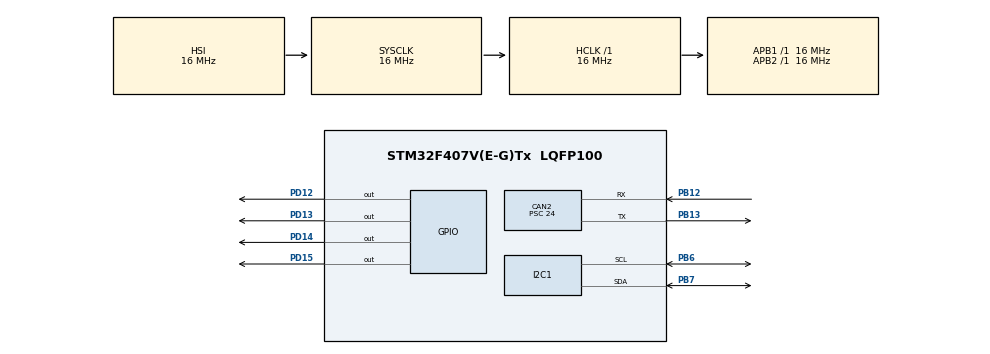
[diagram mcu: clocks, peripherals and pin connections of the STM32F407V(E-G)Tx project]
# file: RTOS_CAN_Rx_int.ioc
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CAN2.BS1=CAN_BS1_13TQ
CAN2.BS2=CAN_BS2_2TQ
CAN2.CalculateBaudRate=41666
CAN2.CalculateTimeBit=24000
CAN2.CalculateTimeQuantum=1500.0
CAN2.Prescaler=24
Mcu.Family=STM32F4
Mcu.Name=STM32F407V(E-G)Tx
Mcu.Package=LQFP100
NVIC.CAN2_RX0_IRQn=true\:6\:0\:true\:false\:true\:true\:true\:true
NVIC.PriorityGroup=NVIC_PRIORITYGROUP_4
NVIC.TIM1_UP_TIM10_IRQn=true\:15\:0\:false\:false\:true\:false\:true\:true
NVIC.TimeBase=TIM1_UP_TIM10_IRQn
NVIC.TimeBaseIP=TIM1
PB12.Mode=CAN_Activate
PB12.Signal=CAN2_RX
PB13.Mode=CAN_Activate
PB13.Signal=CAN2_TX
PB6.Mode=I2C
PB6.Signal=I2C1_SCL
PB7.Mode=I2C
PB7.Signal=I2C1_SDA
PD12.Signal=GPIO_Output
PD13.Signal=GPIO_Output
PD14.Signal=GPIO_Output
PD15.Signal=GPIO_Output
ProjectManager.HeapSize=0x200
ProjectManager.StackSize=0x400
ProjectManager.TargetToolchain=STM32CubeIDE
RCC.AHBFreq_Value=16000000
RCC.APB1Freq_Value=16000000
RCC.APB2Freq_Value=16000000
RCC.CortexFreq_Value=16000000
RCC.HSE_VALUE=25000000
RCC.HSI_VALUE=16000000
RCC.LSE_VALUE=32768
RCC.SYSCLKFreq_VALUE=16000000
RCC.VCOOutputFreq_Value=192000000
VP_SYS_VS_tim1.Mode=TIM1
board=custom

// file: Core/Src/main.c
/* USER CODE BEGIN Header */
/**
-----------------------------------------------------------------------------

Authors: Prasad kulkarni , Onkar chougale , Lalit Deshpande ,Karan Solanki

CODE: receiving distance with CAN (front, rear) and displaying on LCD and controlling Buzzer
Date: 05-08-2024
--------------------------------------------------------------------------
  ******************************************************************************
  * @file           : main.c
  * @brief          : Main program body
  ******************************************************************************
  * @attention
  *
  * Copyright (c) 2024 STMicroelectronics.
  * All rights reserved.
  *
  * This software is licensed under terms that can be found in the LICENSE file
  * in the root directory of this software component.
  * If no LICENSE file comes with this software, it is provided AS-IS.
  *
  ******************************************************************************
  */
/* USER CODE END Header */
#include "main.h"

/* USER CODE BEGIN Includes */
#include <stdio.h>
#include <string.h>
#include <math.h>
#include <stdlib.h>
#include <lcd_i2c.h>				/* LCD required functionality */

#include "FreeRTOS.h"				/* RTOS Related configurations */
#include "task.h"
#include "timers.h"
#include "queue.h"
#include "semphr.h"
#include "event_groups.h"
#include "SEGGER_SYSVIEW.h"
/* USER CODE END Includes */

CAN_HandleTypeDef hcan2;

I2C_HandleTypeDef hi2c1;

/* USER CODE BEGIN PV */

//uint8_t Queue_rx[8];
uint8_t RxData[8];
uint32_t min_distance;				/* this variable will store minimum distance of two UltraSonic sensor */
float distance_rear;				/* received rear distance via CAN */
float distance_front; 				/* received rear distance via CAN */
uint32_t period;
extern I2C_HandleTypeDef hi2c1;

/* USER CODE END PV */

void SystemClock_Config(void);
static void MX_GPIO_Init(void);
static void MX_CAN2_Init(void);
static void MX_I2C1_Init(void);
/* USER CODE BEGIN PFP */

/* Private function prototypes -----------------------------------------------*/

#define STACK_SIZE 128

void Deferred_Task( void* argument );
void WasteFullLED( void* argument );
void SystemClock_Config(void);
static void MX_GPIO_Init(void);
static void MX_CAN2_Init(void);
void CAN_Filter_Config(void);
void Error_Handler(void);

/* USER CODE END PFP */

/* USER CODE BEGIN 0 */

//static QueueHandle_t Data_transmitt = NULL;

TaskHandle_t xDeferrefTaskHandle = NULL;

/* USER CODE END 0 */

int main(void)
{

  /* MCU Configuration--------------------------------------------------------*/

  HAL_Init();

  /* Configure the system clock */
  SystemClock_Config();

  /* Initialize all configured peripherals */
  MX_GPIO_Init();
  MX_CAN2_Init();
  MX_I2C1_Init();
  /* USER CODE BEGIN 2 */
  /* segger system configuration for segger system view  */
  SEGGER_SYSVIEW_Conf();

  /* making priority of task to 4
   * With FreeRTOS, it's important that critical system interrupts
   *(like the SysTick handler or PendSV handler) are not blocked by other less
   * critical interrupts. By using NVIC_PRIORITYGROUP_4, you can assign the lowest preemption
   * priority to FreeRTOS interrupts, ensuring they are not blocked.*/
  HAL_NVIC_SetPriorityGrouping(NVIC_PRIORITYGROUP_4);

  /* filtering the CAN configurations before starting the can */
  CAN_Filter_Config();

  /**
    * @brief  Start the CAN module.
    * @param  hcan pointer to an CAN_HandleTypeDef structure that contains
    *         the configuration information for the specified CAN.
    * @retval HAL status
    */
  if(HAL_CAN_Start(&hcan2) != HAL_OK)
  {
	  Error_Handler();
  }
  /**
    * @brief  Enable interrupts.
    * @param  hcan pointer to an CAN_HandleTypeDef structure that contains
    *         the configuration information for the specified CAN.
    * @param  ActiveITs indicates which interrupts will be enabled.
    *         This parameter can be any combination of @arg CAN_Interrupts.
    * @retval HAL status
    */
  if(HAL_CAN_ActivateNotification(&hcan2, CAN_IT_RX_FIFO0_MSG_PENDING)!=HAL_OK)
  {
	  Error_Handler();
  }

  //creating tasks
  assert_param(xTaskCreate(Deferred_Task, "Task for Deferred work", STACK_SIZE, NULL, tskIDLE_PRIORITY + 3, &xDeferrefTaskHandle) == pdPASS);
  assert_param(xTaskCreate(WasteFullLED, "LED_Blink on low priority", STACK_SIZE, NULL, tskIDLE_PRIORITY + 1, NULL) == pdPASS);

  //Data_transmitt= xQueueCreate(4,sizeof(float));

  //Starting Scheduler
  vTaskStartScheduler();

  /* USER CODE END 2 */

  /* Infinite loop */
  /* USER CODE BEGIN WHILE */

  while (1)
  {
	  /* program execution should not come here */
  }
    /* USER CODE END WHILE */

}

void SystemClock_Config(void)
{
  RCC_OscInitTypeDef RCC_OscInitStruct = {0};
  RCC_ClkInitTypeDef RCC_ClkInitStruct = {0};

  /** Configure the main internal regulator output voltage
  */
  __HAL_RCC_PWR_CLK_ENABLE();
  __HAL_PWR_VOLTAGESCALING_CONFIG(PWR_REGULATOR_VOLTAGE_SCALE1);

  /** Initializes the RCC Oscillators according to the specified parameters
  * in the RCC_OscInitTypeDef structure.
  */
  RCC_OscInitStruct.OscillatorType = RCC_OSCILLATORTYPE_HSI;
  RCC_OscInitStruct.HSIState = RCC_HSI_ON;
  RCC_OscInitStruct.HSICalibrationValue = RCC_HSICALIBRATION_DEFAULT;
  RCC_OscInitStruct.PLL.PLLState = RCC_PLL_NONE;
  if (HAL_RCC_OscConfig(&RCC_OscInitStruct) != HAL_OK)
  {
    Error_Handler();
  }

  /** Initializes the CPU, AHB and APB buses clocks
  */
  RCC_ClkInitStruct.ClockType = RCC_CLOCKTYPE_HCLK|RCC_CLOCKTYPE_SYSCLK
                              |RCC_CLOCKTYPE_PCLK1|RCC_CLOCKTYPE_PCLK2;
  RCC_ClkInitStruct.SYSCLKSource = RCC_SYSCLKSOURCE_HSI;
  RCC_ClkInitStruct.AHBCLKDivider = RCC_SYSCLK_DIV1;
  RCC_ClkInitStruct.APB1CLKDivider = RCC_HCLK_DIV1;
  RCC_ClkInitStruct.APB2CLKDivider = RCC_HCLK_DIV1;

  if (HAL_RCC_ClockConfig(&RCC_ClkInitStruct, FLASH_LATENCY_0) != HAL_OK)
  {
    Error_Handler();
  }
}

static void MX_CAN2_Init(void)
{

  hcan2.Instance = CAN2;
  hcan2.Init.Prescaler = 24;
  hcan2.Init.Mode = CAN_MODE_NORMAL;
  hcan2.Init.SyncJumpWidth = CAN_SJW_1TQ;
  hcan2.Init.TimeSeg1 = CAN_BS1_13TQ;
  hcan2.Init.TimeSeg2 = CAN_BS2_2TQ;
  hcan2.Init.TimeTriggeredMode = DISABLE;
  hcan2.Init.AutoBusOff = DISABLE;
  hcan2.Init.AutoWakeUp = DISABLE;
  hcan2.Init.AutoRetransmission = DISABLE;
  hcan2.Init.ReceiveFifoLocked = DISABLE;
  hcan2.Init.TransmitFifoPriority = DISABLE;
  if (HAL_CAN_Init(&hcan2) != HAL_OK)
  {
    Error_Handler();
  }

}

static void MX_I2C1_Init(void)
{

  hi2c1.Instance = I2C1;
  hi2c1.Init.ClockSpeed = 100000;
  hi2c1.Init.DutyCycle = I2C_DUTYCYCLE_2;
  hi2c1.Init.OwnAddress1 = 0;
  hi2c1.Init.AddressingMode = I2C_ADDRESSINGMODE_7BIT;
  hi2c1.Init.DualAddressMode = I2C_DUALADDRESS_DISABLE;
  hi2c1.Init.OwnAddress2 = 0;
  hi2c1.Init.GeneralCallMode = I2C_GENERALCALL_DISABLE;
  hi2c1.Init.NoStretchMode = I2C_NOSTRETCH_DISABLE;
  if (HAL_I2C_Init(&hi2c1) != HAL_OK)
  {
    Error_Handler();
  }

}

static void MX_GPIO_Init(void)
{
  GPIO_InitTypeDef GPIO_InitStruct = {0};
  /*USER CODE BEGIN MX_GPIO_Init_1 */

  /*USER CODE END MX_GPIO_Init_1 */

  /* GPIO Ports Clock Enable */
  __HAL_RCC_GPIOB_CLK_ENABLE();
  __HAL_RCC_GPIOD_CLK_ENABLE();

  /*Configure GPIO pin Output Level */
  HAL_GPIO_WritePin(GPIOD, GPIO_PIN_12|GPIO_PIN_13|GPIO_PIN_14|GPIO_PIN_15, GPIO_PIN_RESET);

  /*Configure GPIO pins : PD12 PD13 PD14 PD15 */
  GPIO_InitStruct.Pin = GPIO_PIN_12|GPIO_PIN_13|GPIO_PIN_14|GPIO_PIN_15;
  GPIO_InitStruct.Mode = GPIO_MODE_OUTPUT_PP;
  GPIO_InitStruct.Pull = GPIO_NOPULL;
  GPIO_InitStruct.Speed = GPIO_SPEED_FREQ_LOW;
  HAL_GPIO_Init(GPIOD, &GPIO_InitStruct);

}

/* USER CODE BEGIN 4 */
void LCD_Init(void)
{
	lcd_init();
}

/**
  * @brief This function configures the CAN filter
  * @retval None
  */

void CAN_Filter_Config(void)
{
  CAN_FilterTypeDef can2_filter_init;
  can2_filter_init.FilterActivation = ENABLE;
  can2_filter_init.FilterBank = 14;
  can2_filter_init.FilterFIFOAssignment = CAN_RX_FIFO0;
  can2_filter_init.FilterIdHigh = 0x0000;
  can2_filter_init.FilterIdLow = 0x0000;
  can2_filter_init.FilterMaskIdHigh = 0x0000;
  can2_filter_init.FilterMaskIdLow = 0x0000;
  can2_filter_init.FilterMode = CAN_FILTERMODE_IDMASK;
  can2_filter_init.FilterScale = CAN_FILTERSCALE_32BIT;
  can2_filter_init.SlaveStartFilterBank=14;

  if(HAL_CAN_ConfigFilter(&hcan2, &can2_filter_init) != HAL_OK)
  {
	Error_Handler();
  }
}

/* The vTaskDelay function is used to create a delay,
 * allowing the RTOS to manage the task's timing. */
void WasteFullLED(void *NotUsed)
{
	while(1)
	{
		HAL_GPIO_WritePin(GPIOD, GPIO_PIN_15, SET);
		vTaskDelay(100/portTICK_PERIOD_MS);
		HAL_GPIO_WritePin(GPIOD, GPIO_PIN_15, RESET);
		vTaskDelay(100/portTICK_PERIOD_MS);
	}
}

/* 1->This task waits for a notification from an ISR using ulTaskNotifyTake,
 * which blocks the task until the notification is received.
 * 2->Once notified, it extracts two float values from RxData,
 * representing distances for the front and rear */
void Deferred_Task(void *argument)
{
	char buffer[20];

	while(1)
	{
		SEGGER_SYSVIEW_PrintfHost("Waiting for mque receive\n");

		ulTaskNotifyTake(pdTRUE,portMAX_DELAY);

		memcpy(&distance_front,&RxData[0],sizeof(float));
		memcpy(&distance_rear,&RxData[4],sizeof(float));

		SEGGER_SYSVIEW_PrintfHost("Distance Front: %d Rear: %d",distance_front,distance_rear);

		/* The task logs the distances and then calculates the minimum distance. */
		min_distance= fmin(distance_front,distance_front);

		/* In this part of the code, the buzzer is controlled based on the min_distance value.
		 * The delay duration (period) is calculated by multiplying the min_distance by 5.
		 * This means that the closer the object, the shorter the delay, resulting in faster buzzing. */
		if(min_distance < 30)
		{
			HAL_GPIO_WritePin(GPIOD, GPIO_PIN_12, SET);
			period=(5 * min_distance);
			vTaskDelay(period/portTICK_PERIOD_MS);
			HAL_GPIO_WritePin(GPIOD, GPIO_PIN_12, RESET);
			vTaskDelay(period/portTICK_PERIOD_MS);
		}
		/* else reset the buzzer */
		else
			HAL_GPIO_WritePin(GPIOD, GPIO_PIN_12, RESET);

		/* for segger system view */
		SEGGER_SYSVIEW_PrintfHost("Distance Front: %d Rear: %d",(int)distance_front,(int)distance_rear);
		lcd_clear();
		lcd_put_cur(0, 0);
		sprintf(buffer, "Front Distance:");
		lcd_send_string(buffer);

		/* printing front distance on LCD */
		lcd_put_cur(1, 0);
		sprintf(buffer, "%d cm",(int)distance_front);
		lcd_send_string(buffer);

		lcd_put_cur(2, 0);
		sprintf(buffer, "Rear Distance:");
		lcd_send_string(buffer);

		/* printing rear distance on LCD */
		lcd_put_cur(3, 0);
		sprintf(buffer, "%d cm",(int)distance_rear);
		lcd_send_string(buffer);

		bzero(buffer,sizeof(buffer));
		vTaskDelay(100/portTICK_PERIOD_MS);

	}

}

void CAN2_RX0_IRQHandler(void)
{
    /* USER CODE BEGIN CAN2_RX0_IRQn 0 */

	/* xHigherPriorityTaskWoken is a flag used to check
	 * if a higher priority task has been woken by an ISR. It is initialized to pdFALSE */
	portBASE_TYPE xHigherPriorityTaskWoken = pdFALSE;

	/* Format and send an ISR entry event.
	 * This function is used to log the entry into the ISR using SEGGER SystemView,
	 * a real-time analysis tool*/
	SEGGER_SYSVIEW_RecordEnterISR();

	/* Declares a structure to hold the header information of the received CAN message */
	CAN_RxHeaderTypeDef RxHeader;

	/* Reads the Interrupt Enable Register (IER) of the CAN peripheral
	 *  to check which interrupts are enabled. */
	uint32_t interrupts = READ_REG(hcan2.Instance->IER);

	/* Checks if the FIFO0 message pending interrupt is enabled
	 * by using a bitwise AND operation with CAN_IT_RX_FIFO0_MSG_PENDING */
	if((interrupts & CAN_IT_RX_FIFO0_MSG_PENDING)!=0U)
	{
		/* Checks if there are any messages pending in the FIFO0 receive buffer.
		 * This is done by checking the FIFO0 Message Pending bits in the Receive FIFO 0 Register (RF0R) */
		if((hcan2.Instance->RF0R & CAN_RF0R_FMP0)!=0U)
		{
			/* Calls the HAL_CAN_GetRxMessage function to retrieve the message from FIFO0.
			 * If it fails, the Error_Handler() function is called */
			if(HAL_CAN_GetRxMessage(&hcan2, CAN_RX_FIFO0, &RxHeader, RxData)!= HAL_OK )
			{
				Error_Handler();
			}
			/* This checks if the received message has a standard ID of 0x65D, is a standard frame (IDE == CAN_ID_STD)
			 * and has a data length code (DLC) of 8. If these conditions are met, the code proceeds to process the data. */
			if((RxHeader.StdId==0x65D)&&(RxHeader.IDE==CAN_ID_STD)&&(RxHeader.DLC==8))
			{
				/* printing received data on segger for debug and user view */
				SEGGER_SYSVIEW_PrintfHost("In Interrupt\n");
				SEGGER_SYSVIEW_PrintfHost("Data: %c\n",RxData[0]);
				SEGGER_SYSVIEW_PrintfHost("Data: %c\n",RxData[4]);
				//xQueueSendFromISR(Data_transmitt, &RxData, &xHigherPriorityTaskWoken);

				/* This function is used to notify a task (referred to by xDeferrefTaskHandle) from within the ISR
				 * The xHigherPriorityTaskWoken flag is set to pdTRUE if the notified task has a higher priority than the currently running task. */
				vTaskNotifyGiveFromISR(xDeferrefTaskHandle,&xHigherPriorityTaskWoken);
				SEGGER_SYSVIEW_PrintfHost("Data Sent\n");
			}
		}
	}

	SEGGER_SYSVIEW_RecordExitISR();

	/* f xHigherPriorityTaskWoken was set to pdTRUE, this macro will cause a context
	 * switch to the higher priority task that was woken by the ISR,
	 *  ensuring that it runs immediately after the ISR completes. */
	portYIELD_FROM_ISR(xHigherPriorityTaskWoken);

  /* USER CODE END CAN2_RX0_IRQn 0 */

  /* USER CODE BEGIN CAN2_RX0_IRQn 1 */

  /* USER CODE END CAN2_RX0_IRQn 1 */
}

/* USER CODE END 4 */

void HAL_TIM_PeriodElapsedCallback(TIM_HandleTypeDef *htim)
{
  if (htim->Instance == TIM1) {
    HAL_IncTick();
  }
}

void Error_Handler(void)
{
  __disable_irq();
  while (1)
  {
  }
}
